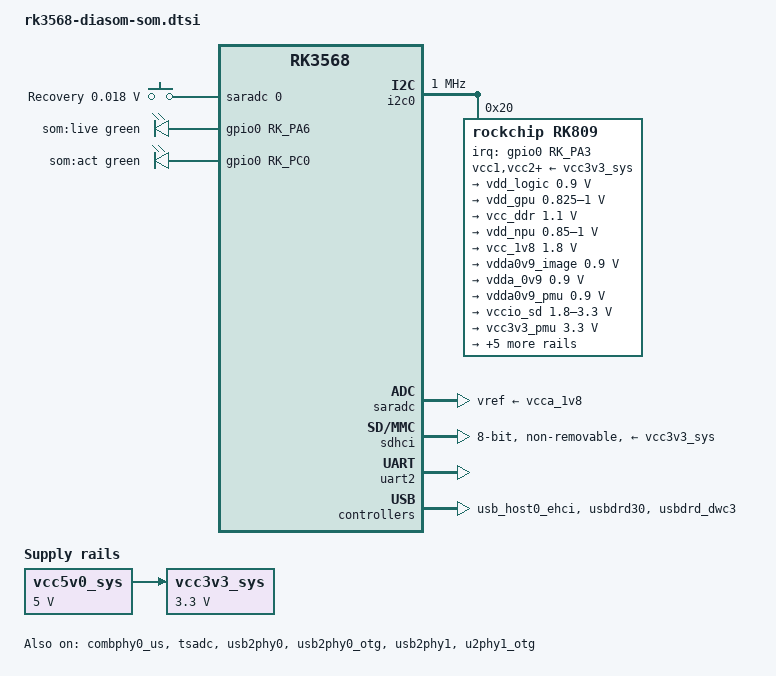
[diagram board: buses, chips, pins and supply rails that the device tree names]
// SPDX-License-Identifier: (GPL-2.0+ OR MIT)

#include <dt-bindings/gpio/gpio.h>
#include <dt-bindings/input/input.h>
#include <dt-bindings/leds/common.h>
#include <dt-bindings/pinctrl/rockchip.h>

/ {
	adc-keys {
		compatible = "adc-keys";
		io-channels = <&saradc 0>;
		io-channel-names = "buttons";
		keyup-threshold-microvolt = <1300000>;
		poll-interval = <100>;

		recovery {
			label = "Recovery";
			linux,code = <KEY_VENDOR>;
			press-threshold-microvolt = <18000>;
		};
	};

	leds: leds {
		compatible = "gpio-leds";
		pinctrl-names = "default";
		pinctrl-0 = <&leds_pins>;

		led-live {
			label = "som:live";
			gpios = <&gpio0 RK_PA6 GPIO_ACTIVE_HIGH>;
			function = LED_FUNCTION_HEARTBEAT;
			color = <LED_COLOR_ID_GREEN>;
			linux,default-trigger = LED_FUNCTION_HEARTBEAT;
			default-state = "off";
			panic-indicator;
		};

		led-act {
			label = "som:act";
			gpios = <&gpio0 RK_PC0 GPIO_ACTIVE_HIGH>;
			function = LED_FUNCTION_ACTIVITY;
			color = <LED_COLOR_ID_GREEN>;
			linux,default-trigger = LED_FUNCTION_ACTIVITY;
			default-state = "off";
		};
	};

	vcc3v3_sys: vcc3v3-sys-regulator {
		compatible = "regulator-fixed";
		regulator-name = "3v3_sys";
		regulator-always-on;
		regulator-boot-on;
		regulator-min-microvolt = <3300000>;
		regulator-max-microvolt = <3300000>;
		vin-supply = <&vcc5v0_sys>;
	};

	vcc5v0_sys: vcc5v0-sys-regulator {
		compatible = "regulator-fixed";
		regulator-name = "5v0_sys";
		regulator-always-on;
		regulator-boot-on;
		regulator-min-microvolt = <5000000>;
		regulator-max-microvolt = <5000000>;
	};
};

/delete-node/ &xin32k;

&combphy0_us {
	status = "okay";
};

&display_subsystem {
	status = "disabled";
};

&gpu {
	mali-supply = <&vdd_gpu>;
};

&hdmi {
	avdd-0v9-supply = <&vdda0v9_image>;
	avdd-1v8-supply = <&vcca1v8_image>;
};

&i2c0 {
	clock-frequency = <1000000>;
	status = "okay";

	rk809: pmic@20 {
		compatible = "rockchip,rk809";
		reg = <0x20>;
		interrupt-parent = <&gpio0>;
		interrupts = <RK_PA3 IRQ_TYPE_LEVEL_LOW>;
		pinctrl-names = "default";
		pinctrl-0 = <&pmic_int &pmic_som_pins>;
		rockchip,system-power-controller;
		#clock-cells = <1>;
		clock-output-names = "rk808-clkout1", "rk808-clkout2";
		vcc1-supply = <&vcc3v3_sys>;
		vcc2-supply = <&vcc3v3_sys>;
		vcc3-supply = <&vcc3v3_sys>;
		vcc4-supply = <&vcc3v3_sys>;
		vcc5-supply = <&vcc3v3_sys>;
		vcc6-supply = <&vcc3v3_sys>;
		vcc7-supply = <&vcc3v3_sys>;
		vcc8-supply = <&vcc3v3_sys>;
		vcc9-supply = <&vcc3v3_sys>;
		wakeup-source;

		regulators {
			vdd_logic: DCDC_REG1 {
				regulator-name = "vdd_logic";
				regulator-always-on;
				regulator-boot-on;
				regulator-initial-mode = <0x2>;
				regulator-min-microvolt = <900000>;
				regulator-max-microvolt = <900000>;
				regulator-ramp-delay = <6001>;

				regulator-state-mem {
					regulator-off-in-suspend;
				};
			};

			vdd_gpu: DCDC_REG2 {
				regulator-name = "vdd_gpu";
				regulator-initial-mode = <0x2>;
				regulator-min-microvolt = <825000>;
				regulator-max-microvolt = <1000000>;
				regulator-ramp-delay = <6001>;

				regulator-state-mem {
					regulator-off-in-suspend;
				};
			};

			vcc_ddr: DCDC_REG3 {
				regulator-name = "vcc_ddr";
				regulator-always-on;
				regulator-boot-on;
				regulator-initial-mode = <0x2>;
				regulator-min-microvolt = <1100000>;
				regulator-max-microvolt = <1100000>;

				regulator-state-mem {
					regulator-on-in-suspend;
					regulator-suspend-microvolt = <1100000>;
				};
			};

			vdd_npu: DCDC_REG4 {
				regulator-name = "vdd_npu";
				regulator-initial-mode = <0x2>;
				regulator-min-microvolt = <850000>;
				regulator-max-microvolt = <1000000>;
				regulator-ramp-delay = <6001>;

				regulator-state-mem {
					regulator-off-in-suspend;
				};
			};

			vcc_1v8: DCDC_REG5 {
				regulator-name = "vcc_1v8";
				regulator-always-on;
				regulator-boot-on;
				regulator-min-microvolt = <1800000>;
				regulator-max-microvolt = <1800000>;

				regulator-state-mem {
					regulator-on-in-suspend;
					regulator-suspend-microvolt = <1800000>;
				};
			};

			vdda0v9_image: LDO_REG1 {
				regulator-name = "vdda0v9_image";
				regulator-min-microvolt = <900000>;
				regulator-max-microvolt = <900000>;

				regulator-state-mem {
					regulator-off-in-suspend;
				};
			};

			vdda_0v9: LDO_REG2 {
				regulator-name = "vdda_0v9";
				regulator-always-on;
				regulator-boot-on;
				regulator-min-microvolt = <900000>;
				regulator-max-microvolt = <900000>;

				regulator-state-mem {
					regulator-off-in-suspend;
				};
			};

			vdda0v9_pmu: LDO_REG3 {
				regulator-name = "vdda0v9_pmu";
				regulator-always-on;
				regulator-boot-on;
				regulator-min-microvolt = <900000>;
				regulator-max-microvolt = <900000>;

				regulator-state-mem {
					regulator-on-in-suspend;
					regulator-suspend-microvolt = <900000>;
				};
			};

			vccio_sd: LDO_REG5 {
				regulator-name = "vccio_sd";
				regulator-boot-on;
				regulator-min-microvolt = <1800000>;
				regulator-max-microvolt = <3300000>;

				regulator-state-mem {
					regulator-off-in-suspend;
				};
			};

			vcc3v3_pmu: LDO_REG6 {
				regulator-name = "vcc3v3_pmu";
				regulator-always-on;
				regulator-boot-on;
				regulator-min-microvolt = <3300000>;
				regulator-max-microvolt = <3300000>;

				regulator-state-mem {
					regulator-on-in-suspend;
					regulator-suspend-microvolt = <3300000>;
				};
			};

			vcca_1v8: LDO_REG7 {
				regulator-name = "vcca_1v8";
				regulator-always-on;
				regulator-boot-on;
				regulator-min-microvolt = <1800000>;
				regulator-max-microvolt = <1800000>;

				regulator-state-mem {
					regulator-off-in-suspend;
				};
			};

			vcca1v8_pmu: LDO_REG8 {
				regulator-name = "vcca1v8_pmu";
				regulator-always-on;
				regulator-boot-on;
				regulator-min-microvolt = <1800000>;
				regulator-max-microvolt = <1800000>;

				regulator-state-mem {
					regulator-on-in-suspend;
					regulator-suspend-microvolt = <1800000>;
				};
			};

			vcca1v8_image: LDO_REG9 {
				regulator-name = "vcca1v8_image";
				regulator-min-microvolt = <1800000>;
				regulator-max-microvolt = <1800000>;

				regulator-state-mem {
					regulator-off-in-suspend;
				};
			};

			vcc_3v3_sw1: SWITCH_REG1 {
				regulator-name = "vcc_3v3_sw1";
				regulator-always-on;
				regulator-boot-on;
				regulator-min-microvolt = <3300000>;
				regulator-max-microvolt = <3300000>;
				regulator-coupled-with = <&vcc_3v3_sw2>;
				regulator-coupled-max-spread = <10000>;

				regulator-state-mem {
					regulator-off-in-suspend;
				};
			};

			vcc_3v3_sw2: SWITCH_REG2 {
				regulator-name = "vcc_3v3_sw2";
				regulator-always-on;
				regulator-boot-on;
				regulator-min-microvolt = <3300000>;
				regulator-max-microvolt = <3300000>;
				regulator-coupled-with = <&vcc_3v3_sw1>;
				regulator-coupled-max-spread = <10000>;

				regulator-state-mem {
					regulator-off-in-suspend;
				};
			};
		};
	};
};

&rk_rga {
	status = "disabled";
};

&pmu_io_domains {
	pmuio1-supply = <&vcc3v3_pmu>;
	pmuio2-supply = <&vcc3v3_pmu>;
	vccio1-supply = <&vcc_1v8>;
	vccio2-supply = <&vcc_1v8>;
	vccio3-supply = <&vccio_sd>;
	vccio4-supply = <&vcc_1v8>;
	vccio5-supply = <&vcc_1v8>;
	vccio6-supply = <&vcc_1v8>;
	vccio7-supply = <&vcc_3v3_sw1>;
	status = "okay";
};

&saradc {
	vref-supply = <&vcca_1v8>;
	status = "okay";
};

&vdpu {
	status = "disabled";
};

&vdpu_mmu {
	status = "disabled";
};

&vepu {
	status = "disabled";
};

&vepu_mmu {
	status = "disabled";
};

&sdhci {
	pinctrl-names = "default";
	pinctrl-0 = <&emmc_bus8 &emmc_clk &emmc_cmd &emmc_datastrobe &emmc_rstnout>;
	bus-width = <8>;
	cap-mmc-hw-reset;
	max-frequency = <200000000>;
	mmc-hs200-1_8v;
	non-removable;
	no-mmc-hs400;
	no-sd;
	no-sdio;
	vmmc-supply = <&vcc3v3_sys>;
	vqmmc-supply = <&vcc_1v8>;
	status = "okay";
};

&tsadc {
	rockchip,hw-tshut-temp = <95000>;
	rockchip,hw-tshut-mode = <0>;
	rockchip,hw-tshut-polarity = <0>;
	status = "okay";
};

&uart2 {
	wakeup-source;
	status = "okay";
};

&usb2phy0 {
	clock-output-names = "clk_usbphy0_480m";
	status = "okay";
};

&usb2phy0_otg {
	status = "okay";
};

&usb2phy1 {
	clock-output-names = "clk_usbphy1_480m";
	status = "okay";
};

&u2phy1_otg {
	status = "okay";
};

&usb_host0_ehci {
	status = "okay";
};

&usbdrd30 {
	status = "okay";
};

&usbdrd_dwc3 {
	hnp-disable;
	srp-disable;
	status = "okay";
};

&pinctrl {
	leds {
		leds_pins: leds-pins {
			rockchip,pins =
				<0 RK_PA6 RK_FUNC_GPIO &pcfg_pull_none>,
				<0 RK_PC0 RK_FUNC_GPIO &pcfg_pull_none>;
		};
	};

	pmic {
		pmic_int: pmic_int {
			rockchip,pins =
				<0 RK_PA3 RK_FUNC_GPIO &pcfg_pull_up>;
		};

		pmic_som_pins: pmic-som-pins {
			rockchip,pins =
				<0 RK_PB0 1 &pcfg_pull_up>,
				<0 RK_PA3 RK_FUNC_GPIO &pcfg_pull_up>;
		};
	};
};
